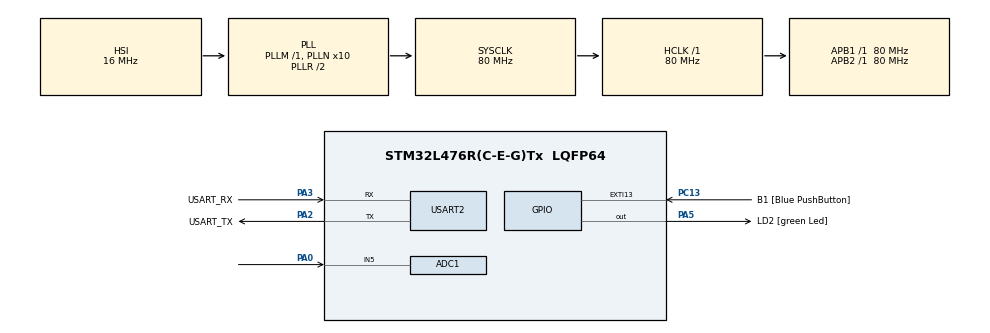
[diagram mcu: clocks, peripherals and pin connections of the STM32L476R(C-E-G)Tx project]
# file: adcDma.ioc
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ADC1.Channel-0\#ChannelRegularConversion=ADC_CHANNEL_5
ADC1.NbrOfConversionFlag=1
ADC1.OffsetNumber-0\#ChannelRegularConversion=ADC_OFFSET_NONE
ADC1.Rank-0\#ChannelRegularConversion=1
ADC1.SamplingTime-0\#ChannelRegularConversion=ADC_SAMPLETIME_2CYCLES_5
ADC1.master=1
Dma.Request0=USART2_TX
Dma.USART2_TX.0.Direction=DMA_MEMORY_TO_PERIPH
Dma.USART2_TX.0.Instance=DMA1_Channel7
Dma.USART2_TX.0.MemDataAlignment=DMA_MDATAALIGN_BYTE
Dma.USART2_TX.0.MemInc=DMA_MINC_ENABLE
Dma.USART2_TX.0.Mode=DMA_NORMAL
Dma.USART2_TX.0.PeriphDataAlignment=DMA_PDATAALIGN_BYTE
Dma.USART2_TX.0.PeriphInc=DMA_PINC_DISABLE
Dma.USART2_TX.0.Priority=DMA_PRIORITY_LOW
Mcu.Family=STM32L4
Mcu.Name=STM32L476R(C-E-G)Tx
Mcu.Package=LQFP64
NVIC.DMA1_Channel7_IRQn=true\:0\:0\:false\:false\:true\:false\:true\:true
NVIC.PriorityGroup=NVIC_PRIORITYGROUP_4
PA0.Signal=ADCx_IN5
PA13\ (JTMS-SWDIO).GPIO_Label=TMS
PA13\ (JTMS-SWDIO).Signal=SYS_JTMS-SWDIO
PA14\ (JTCK-SWCLK).GPIO_Label=TCK
PA14\ (JTCK-SWCLK).Signal=SYS_JTCK-SWCLK
PA2.GPIO_Label=USART_TX
PA2.GPIO_Mode=GPIO_MODE_AF_PP
PA2.GPIO_PuPd=GPIO_NOPULL
PA2.GPIO_Speed=GPIO_SPEED_FREQ_VERY_HIGH
PA2.Mode=Asynchronous
PA2.Signal=USART2_TX
PA3.GPIO_Label=USART_RX
PA3.GPIO_Mode=GPIO_MODE_AF_PP
PA3.GPIO_PuPd=GPIO_NOPULL
PA3.GPIO_Speed=GPIO_SPEED_FREQ_VERY_HIGH
PA3.Mode=Asynchronous
PA3.Signal=USART2_RX
PA5.GPIO_Label=LD2 [green Led]
PA5.GPIO_ModeDefaultOutputPP=GPIO_MODE_OUTPUT_PP
PA5.GPIO_PuPd=GPIO_NOPULL
PA5.GPIO_Speed=GPIO_SPEED_FREQ_LOW
PA5.Signal=GPIO_Output
PB3\ (JTDO-TRACESWO).GPIO_Label=SWO
PB3\ (JTDO-TRACESWO).Signal=SYS_JTDO-SWO
PC13.GPIO_Label=B1 [Blue PushButton]
PC13.GPIO_ModeDefaultEXTI=GPIO_MODE_IT_FALLING
PC13.GPIO_PuPd=GPIO_NOPULL
PC13.Signal=GPXTI13
PC14-OSC32_IN\ (PC14).Signal=RCC_OSC32_IN
PC15-OSC32_OUT\ (PC15).Signal=RCC_OSC32_OUT
PH0-OSC_IN\ (PH0).Signal=RCC_OSC_IN
PH1-OSC_OUT\ (PH1).Signal=RCC_OSC_OUT
ProjectManager.HeapSize=0x200
ProjectManager.StackSize=0x400
ProjectManager.TargetToolchain=STM32CubeIDE
RCC.ADCFreq_Value=64000000
RCC.AHBFreq_Value=80000000
RCC.APB1Freq_Value=80000000
RCC.APB1TimFreq_Value=80000000
RCC.APB2Freq_Value=80000000
RCC.APB2TimFreq_Value=80000000
RCC.CortexFreq_Value=80000000
RCC.HCLKFreq_Value=80000000
RCC.HSE_VALUE=8000000
RCC.HSI_VALUE=16000000
RCC.LSE_VALUE=32768
RCC.MSI_VALUE=4000000
RCC.PLLN=10
RCC.PLLSourceVirtual=RCC_PLLSOURCE_HSI
RCC.PREFETCH_ENABLE=1
RCC.SYSCLKFreq_VALUE=80000000
RCC.SYSCLKSource=RCC_SYSCLKSOURCE_PLLCLK
RCC.USBFreq_Value=64000000
RCC.VCOOutputFreq_Value=160000000
SH.ADCx_IN5.0=ADC1_IN5,IN5-Single-Ended
USART2.VirtualMode-Asynchronous=VM_ASYNC
board=NUCLEO-L476RG

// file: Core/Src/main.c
/* USER CODE BEGIN Header */
/**
  ******************************************************************************
  * @file           : main.c
  * @brief          : Main program body
  ******************************************************************************
  * @attention
  *
  * Copyright (c) 2026 STMicroelectronics.
  * All rights reserved.
  *
  * This software is licensed under terms that can be found in the LICENSE file
  * in the root directory of this software component.
  * If no LICENSE file comes with this software, it is provided AS-IS.
  *
  ******************************************************************************
  */
/* USER CODE END Header */
#include "main.h"

/* USER CODE BEGIN Includes */
#include <stdio.h>
#include <string.h>
/* USER CODE END Includes */

ADC_HandleTypeDef hadc1;

UART_HandleTypeDef huart2;
DMA_HandleTypeDef hdma_usart2_tx;

void SystemClock_Config(void);
static void MX_GPIO_Init(void);
static void MX_DMA_Init(void);
static void MX_ADC1_Init(void);
static void MX_USART2_UART_Init(void);
/* USER CODE BEGIN PFP */
void DMATransferComplete(DMA_HandleTypeDef *hdma);
/* USER CODE END PFP */

int main(void)
{

  /* USER CODE BEGIN 1 */
	char msg[] = "Litwo! Ojczyzno moja! ty jesteś jak zdrowie."\
			"Ile cię trzeba cenić, ten tylko się dowie,Kto cię stracił."\
			"Dziś piękność twą w całej ozdobieWidzę i opisuję, bo tęsknię po tobie."\
			"Panno Święta, co jasnej bronisz CzęstochowyI w Ostrej świecisz Bramie!"\
			"Ty, co gród zamkowyNowogródzki ochraniasz z jego wiernym ludem!"\
			"Jak mnie dziecko do zdrowia powróciłaś cudem(Gdy od płaczęcej matki, pod twoją opiekę"\
			"Ofiarowany, martwą podniosłem powiekęI zaraz mogłem pieszo do twych świątyń proguIść za wrócone życie podziękować Bogu,"\
			"Tak nas powrócisz cudem na ojczyzny łono.Tymczasem przenoś moję duszę utęsknionąDo tych pagórków leśnych, do tych łąk zielonych,"\
			"Szeroko nad błękitnym Niemnem rozciągnionych;Do tych pól malowanych zbożem rozmaitem,Wyzłacanych pszenicą, "\
			"posrebrzanych żytem;Gdzie bursztynowy świerzop, gryka jak śnieg biała,Gdzie panieńskim rumieńcem dzięcielina pała,"\
			"A wszystko przepasane jakby wstęgą, miedząZieloną, na niej z rzadka ciche grusze siedzą.\r\n";
  /* USER CODE END 1 */

  /* MCU Configuration--------------------------------------------------------*/

  /* Reset of all peripherals, Initializes the Flash interface and the Systick. */
  HAL_Init();

  /* Configure the system clock */
  SystemClock_Config();

  /* Initialize all configured peripherals */
  MX_GPIO_Init();
  MX_DMA_Init();
  MX_ADC1_Init();
  MX_USART2_UART_Init();
  /* USER CODE BEGIN 2 */
  HAL_DMA_RegisterCallback(&hdma_usart2_tx, HAL_DMA_XFER_CPLT_CB_ID, &DMATransferComplete);
  /* USER CODE END 2 */

  /* Infinite loop */
  /* USER CODE BEGIN WHILE */
  while (1)
  {
	  huart2.Instance->CR3 |= USART_CR3_DMAT;
	  HAL_DMA_Start_IT(&hdma_usart2_tx, (uint32_t)msg, (uint32_t)&huart2.Instance->TDR, strlen(msg));

	  HAL_Delay(1000);
    /* USER CODE END WHILE */

  }
}

void SystemClock_Config(void)
{
  RCC_OscInitTypeDef RCC_OscInitStruct = {0};
  RCC_ClkInitTypeDef RCC_ClkInitStruct = {0};

  /** Configure the main internal regulator output voltage
  */
  if (HAL_PWREx_ControlVoltageScaling(PWR_REGULATOR_VOLTAGE_SCALE1) != HAL_OK)
  {
    Error_Handler();
  }

  /** Initializes the RCC Oscillators according to the specified parameters
  * in the RCC_OscInitTypeDef structure.
  */
  RCC_OscInitStruct.OscillatorType = RCC_OSCILLATORTYPE_HSI;
  RCC_OscInitStruct.HSIState = RCC_HSI_ON;
  RCC_OscInitStruct.HSICalibrationValue = RCC_HSICALIBRATION_DEFAULT;
  RCC_OscInitStruct.PLL.PLLState = RCC_PLL_ON;
  RCC_OscInitStruct.PLL.PLLSource = RCC_PLLSOURCE_HSI;
  RCC_OscInitStruct.PLL.PLLM = 1;
  RCC_OscInitStruct.PLL.PLLN = 10;
  RCC_OscInitStruct.PLL.PLLP = RCC_PLLP_DIV7;
  RCC_OscInitStruct.PLL.PLLQ = RCC_PLLQ_DIV2;
  RCC_OscInitStruct.PLL.PLLR = RCC_PLLR_DIV2;
  if (HAL_RCC_OscConfig(&RCC_OscInitStruct) != HAL_OK)
  {
    Error_Handler();
  }

  /** Initializes the CPU, AHB and APB buses clocks
  */
  RCC_ClkInitStruct.ClockType = RCC_CLOCKTYPE_HCLK|RCC_CLOCKTYPE_SYSCLK
                              |RCC_CLOCKTYPE_PCLK1|RCC_CLOCKTYPE_PCLK2;
  RCC_ClkInitStruct.SYSCLKSource = RCC_SYSCLKSOURCE_PLLCLK;
  RCC_ClkInitStruct.AHBCLKDivider = RCC_SYSCLK_DIV1;
  RCC_ClkInitStruct.APB1CLKDivider = RCC_HCLK_DIV1;
  RCC_ClkInitStruct.APB2CLKDivider = RCC_HCLK_DIV1;

  if (HAL_RCC_ClockConfig(&RCC_ClkInitStruct, FLASH_LATENCY_4) != HAL_OK)
  {
    Error_Handler();
  }
}

static void MX_ADC1_Init(void)
{

  ADC_MultiModeTypeDef multimode = {0};
  ADC_ChannelConfTypeDef sConfig = {0};

  /** Common config
  */
  hadc1.Instance = ADC1;
  hadc1.Init.ClockPrescaler = ADC_CLOCK_ASYNC_DIV1;
  hadc1.Init.Resolution = ADC_RESOLUTION_12B;
  hadc1.Init.DataAlign = ADC_DATAALIGN_RIGHT;
  hadc1.Init.ScanConvMode = ADC_SCAN_DISABLE;
  hadc1.Init.EOCSelection = ADC_EOC_SINGLE_CONV;
  hadc1.Init.LowPowerAutoWait = DISABLE;
  hadc1.Init.ContinuousConvMode = DISABLE;
  hadc1.Init.NbrOfConversion = 1;
  hadc1.Init.DiscontinuousConvMode = DISABLE;
  hadc1.Init.ExternalTrigConv = ADC_SOFTWARE_START;
  hadc1.Init.ExternalTrigConvEdge = ADC_EXTERNALTRIGCONVEDGE_NONE;
  hadc1.Init.DMAContinuousRequests = DISABLE;
  hadc1.Init.Overrun = ADC_OVR_DATA_PRESERVED;
  hadc1.Init.OversamplingMode = DISABLE;
  if (HAL_ADC_Init(&hadc1) != HAL_OK)
  {
    Error_Handler();
  }

  /** Configure the ADC multi-mode
  */
  multimode.Mode = ADC_MODE_INDEPENDENT;
  if (HAL_ADCEx_MultiModeConfigChannel(&hadc1, &multimode) != HAL_OK)
  {
    Error_Handler();
  }

  /** Configure Regular Channel
  */
  sConfig.Channel = ADC_CHANNEL_5;
  sConfig.Rank = ADC_REGULAR_RANK_1;
  sConfig.SamplingTime = ADC_SAMPLETIME_2CYCLES_5;
  sConfig.SingleDiff = ADC_SINGLE_ENDED;
  sConfig.OffsetNumber = ADC_OFFSET_NONE;
  sConfig.Offset = 0;
  if (HAL_ADC_ConfigChannel(&hadc1, &sConfig) != HAL_OK)
  {
    Error_Handler();
  }

}

static void MX_USART2_UART_Init(void)
{

  huart2.Instance = USART2;
  huart2.Init.BaudRate = 115200;
  huart2.Init.WordLength = UART_WORDLENGTH_8B;
  huart2.Init.StopBits = UART_STOPBITS_1;
  huart2.Init.Parity = UART_PARITY_NONE;
  huart2.Init.Mode = UART_MODE_TX_RX;
  huart2.Init.HwFlowCtl = UART_HWCONTROL_NONE;
  huart2.Init.OverSampling = UART_OVERSAMPLING_16;
  huart2.Init.OneBitSampling = UART_ONE_BIT_SAMPLE_DISABLE;
  huart2.AdvancedInit.AdvFeatureInit = UART_ADVFEATURE_NO_INIT;
  if (HAL_UART_Init(&huart2) != HAL_OK)
  {
    Error_Handler();
  }

}

static void MX_DMA_Init(void)
{

  /* DMA controller clock enable */
  __HAL_RCC_DMA1_CLK_ENABLE();

  /* DMA interrupt init */
  /* DMA1_Channel7_IRQn interrupt configuration */
  HAL_NVIC_SetPriority(DMA1_Channel7_IRQn, 0, 0);
  HAL_NVIC_EnableIRQ(DMA1_Channel7_IRQn);

}

static void MX_GPIO_Init(void)
{
  GPIO_InitTypeDef GPIO_InitStruct = {0};

  /* GPIO Ports Clock Enable */
  __HAL_RCC_GPIOC_CLK_ENABLE();
  __HAL_RCC_GPIOH_CLK_ENABLE();
  __HAL_RCC_GPIOA_CLK_ENABLE();
  __HAL_RCC_GPIOB_CLK_ENABLE();

  /*Configure GPIO pin Output Level */
  HAL_GPIO_WritePin(LD2_GPIO_Port, LD2_Pin, GPIO_PIN_RESET);

  /*Configure GPIO pin : B1_Pin */
  GPIO_InitStruct.Pin = B1_Pin;
  GPIO_InitStruct.Mode = GPIO_MODE_IT_FALLING;
  GPIO_InitStruct.Pull = GPIO_NOPULL;
  HAL_GPIO_Init(B1_GPIO_Port, &GPIO_InitStruct);

  /*Configure GPIO pin : LD2_Pin */
  GPIO_InitStruct.Pin = LD2_Pin;
  GPIO_InitStruct.Mode = GPIO_MODE_OUTPUT_PP;
  GPIO_InitStruct.Pull = GPIO_NOPULL;
  GPIO_InitStruct.Speed = GPIO_SPEED_FREQ_LOW;
  HAL_GPIO_Init(LD2_GPIO_Port, &GPIO_InitStruct);

}

/* USER CODE BEGIN 4 */
void DMATransferComplete(DMA_HandleTypeDef *hdma){
	huart2.Instance->CR3 &= ~USART_CR3_DMAT;

	HAL_GPIO_TogglePin(GPIOA, GPIO_PIN_5);
}
/* USER CODE END 4 */

void Error_Handler(void)
{
  __disable_irq();
  while (1)
  {
  }
}
